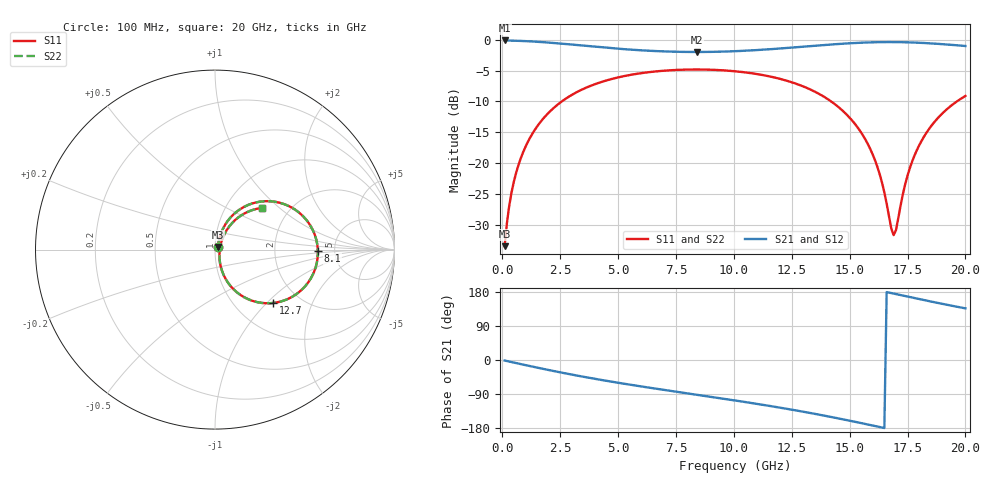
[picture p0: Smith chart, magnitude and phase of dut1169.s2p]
! Touchstone file exported from HFSS 2026.1.0
!  File:  C:/ffzhzh/LocalFiles/Ansys_Project_Files/temp_train_TSV_RDL_1169_1783313967_38820.aedt
!  Generated:  01:11:53 PM Jul  6, 2026
!  Design:  TSV_RDL
!  Project:  temp_train_TSV_RDL_1169_1783313967_38820
! Variables:
!  h_bsmrdl = 5.19um
!  h_ox = 20um
!  h_rdl = 5um
!  h_sub = 63.46um
!  h_tmrdl = 4.43um
!  h_tsv = 63.46um
!  h_via = 3um
!  l_bsmrdl = 566.37um
!  l_sub = 3829.51um
!  l_tmrdl = 399.27um
!  m_sub = 200um
!  pitch = 51.17um
!  r_tsv = 4.32um
!  s_tmrdl = 10um
!  w_bsmrdl = 14.7um
!  w_sub = 500um
!  w_tmrdl = 29.74um
!  x_tsv_center1 = 414.14um
!  x_tsv_center2 = 995.21um
!  x_tsv_center3 = 1424.22um
!  x_tsv_center4 = 2005.29um
!  x_tsv_center5 = 2434.3um
!  x_tsv_center6 = 3015.37um
# GHz S MA R 50.000000
! Terminal data exported
! Port[1] = TM_RDL1_1_T1
! Port[2] = TM_RDL5_1_T1
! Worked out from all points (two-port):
!   200 points, 100 MHz to 20 GHz, reference 50 ohm
!   highest |S21| = -0.14 dB at 100 MHz (marker M1); lowest = -2.0 dB at 8.4 GHz (marker M2)
!   |S21| within 3 dB of the highest: start of sweep to end of sweep
!   lowest |S11| = -33.4 dB at 100 MHz (marker M3), VSWR 1.04, Z = 51.6 + j1.46 ohm
!   |S11| at or under -10 dB: start of sweep to 2.567 GHz; 14.21 GHz to 19.63 GHz (5.421 GHz wide, 32 % of centre)
!   |S22| runs from -33.4 to -4.8 dB; largest |S21 - S12| = 1.7e-14
!   S11 on the Smith chart (normalised r, x): 100 MHz: 1.03, +0.03; 8.1 GHz: 3.68, -0.08; 12.7 GHz: 1.48, -1.09; 20 GHz: 1.47, +0.78
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0.1  0.02145 41.3  0.9841 -1.4  0.9841 -1.4  0.02145 41.3
! Gamma 0 0 0 0
! Port Impedance 50 0 50 0
0.3  0.04554 64.0  0.9821 -4.1  0.9821 -4.1  0.04554 64.0
0.5  0.07129 68.8  0.98 -6.8  0.98 -6.8  0.07129 68.8
1.1  0.1487 67.9  0.9703 -14.8  0.9703 -14.8  0.1487 67.9
2.1  0.2675 57.9  0.9429 -27.7  0.9429 -27.7  0.2675 57.9
3.5  0.3995 42.5  0.8934 -44.2  0.8934 -44.2  0.3995 42.5
6.8  0.5572 10.7  0.8053 -77.2  0.8053 -77.2  0.5572 10.6
8.1  0.573 -0.7  0.7945 -89.0  0.7945 -89.0  0.573 -0.7
8.4  0.5735 -3.3  0.7941 -91.7  0.7941 -91.7  0.5735 -3.3
10.1  0.5538 -18.2  0.8068 -107.2  0.8068 -107.2  0.5538 -18.2
12.7  0.4393 -42.6  0.8677 -133.2  0.8677 -133.2  0.4393 -42.6
13.4  0.3877 -49.7  0.889 -141.0  0.889 -141.0  0.3877 -49.7
14.7  0.2664 -62.9  0.9265 -156.4  0.9265 -156.4  0.2664 -62.9
15.6  0.1655 -70.5  0.9456 -167.7  0.9456 -167.7  0.1655 -70.5
16.2  0.0936 -70.9  0.9529 -175.5  0.9529 -175.5  0.09363 -70.9
16.7  0.0374 -48.9  0.955 177.9  0.955 177.9  0.03749 -48.8
16.9  0.02636 -8.5  0.9548 175.3  0.9548 175.3  0.0265 -8.5
17  0.02882 16.4  0.9544 173.9  0.9544 173.9  0.02895 16.3
17.5  0.07956 56.7  0.9504 167.4  0.9504 167.4  0.07962 56.6
18  0.1394 58.8  0.9429 160.9  0.9429 160.9  0.1394 58.7
18.8  0.2313 53.3  0.9245 150.7  0.9245 150.7  0.2313 53.2
20  0.3504 41.5  0.8877 136.3  0.8877 136.3  0.3505 41.4
